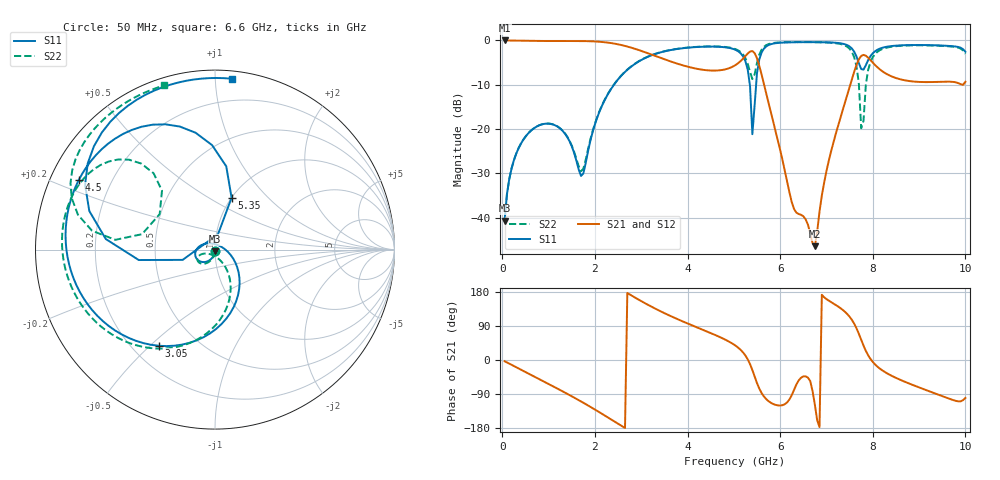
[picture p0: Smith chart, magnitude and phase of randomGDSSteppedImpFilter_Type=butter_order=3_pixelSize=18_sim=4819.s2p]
! freq	dB(S11)	phase(S11)	dB(S12)	phase(S12)
!  dB(S21)	phase(S21)	dB(S22)	phase(S22)
!S-par simulation data
#  GHz  S  DB  R 50
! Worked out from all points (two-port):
!   200 points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, 50 MHz to 10 GHz, reference 50 ohm
!   highest |S21| = 0.00 dB at 50 MHz (marker M1); lowest = -46.4 dB at 6.75 GHz (marker M2)
!   |S21| within 3 dB of the highest: start of sweep to 3.174 GHz; 5.296 GHz to 5.456 GHz (159.6 MHz wide, 2.97 % of centre)
!   lowest |S11| = -40.7 dB at 50 MHz (marker M3), VSWR 1.02, Z = 50 - j0.925 ohm
!   |S11| at or under -10 dB: start of sweep to 2.412 GHz; 5.345 GHz to 5.481 GHz (136.2 MHz wide, 2.52 % of centre)
!   |S22| runs from -40.6 to -0.4 dB; largest |S21 - S12| = 0
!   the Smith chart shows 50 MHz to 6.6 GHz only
!   S11 on the Smith chart (normalised r, x): 50 MHz: 1.00, -0.02; 3.05 GHz: 0.31, -0.53; 4.5 GHz: 0.08, +0.24; 5.35 GHz: 1.00, +0.64; 6.6 GHz: 0.05, +1.10
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0.05  -40.67 -92.3  -0.00 -3.2  -0.00 -3.2  -40.65 -91.6
0.25  -27.06 -107.2  -0.04 -15.9  -0.04 -15.9  -27.05 -104.2
0.75  -19.40 -142.8  -0.11 -47.5  -0.11 -47.5  -19.38 -132.9
1.75  -30.04 46.2  -0.15 -112.8  -0.15 -112.8  -28.96 -95.2
2.25  -12.70 -53.8  -0.45 -149.3  -0.45 -149.3  -12.62 -68.1
3.05  -4.14 -120.3  -2.54 152.0  -2.54 152.0  -4.11 -117.8
3.4  -2.74 -144.3  -3.87 129.6  -3.87 129.6  -2.71 -138.0
4.5  -1.39 152.9  -6.79 71.1  -6.79 71.1  -1.34 170.2
5.05  -2.19 116.5  -5.46 36.7  -5.46 36.7  -2.02 143.4
5.35  -10.36 72.3  -2.51 -11.1  -2.51 -11.1  -7.10 132.0
5.4  -21.16 78.9  -2.39 -26.6  -2.39 -26.6  -8.72 147.3
5.65  -1.84 153.5  -9.86 -96.3  -9.86 -96.3  -1.43 160.2
6.25  -0.42 102.5  -36.47 -92.8  -36.47 -92.8  -0.37 122.7
6.6  -0.39 84.4  -41.58 -46.4  -41.58 -46.4  -0.38 107.1
6.7  -0.39 79.5  -45.78 -82.3  -45.78 -82.3  -0.39 102.6
6.75  -0.39 77.0  -46.43 -118.3  -46.43 -118.3  -0.40 100.3
7.35  -0.74 44.0  -15.75 132.4  -15.75 132.4  -0.94 63.5
7.7  -5.13 21.5  -4.26 68.9  -4.26 68.9  -9.84 3.1
7.75  -6.46 29.1  -3.50 53.4  -3.50 53.4  -19.83 -5.8
7.9  -4.45 50.8  -3.89 12.5  -3.89 12.5  -6.67 122.2
8.35  -1.34 27.6  -7.85 -38.0  -7.85 -38.0  -1.52 72.6
10  -2.56 -46.5  -9.34 -100.1  -9.34 -100.1  -3.03 -20.6
